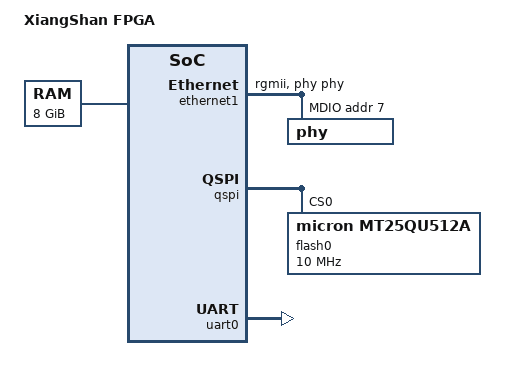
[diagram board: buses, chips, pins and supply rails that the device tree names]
/include/ "xiangshan-base.dtsi"

// TODO: fix at lot of binding errors

/ {
	compatible = "xiangshan,fpga";
	model = "XiangShan FPGA";

	chosen {
		bootargs = "root=/dev/nvme0n1p2 rootfstype=ext4 rw rootwait console=ttyS0,115200n8 earlycon noinitrd";
	};

	memory: memory@80000000 {
		device_type = "memory";
		reg = <0x0 0x80000000 0x2 0x00000000>;
	};
};

&cpus {
	timebase-frequency = <500000>; // CLINT timer at 500 KHz
	// adjust XiangShan/src/main/scala/device/TLTimer.scala:42
};

&cpu0 {
	clock-frequency = <1000000>; // 1 MHz
};

&cpu1 {
	clock-frequency = <1000000>; // 1 MHz
	status = "okay";
};

&soc {
	clkc: misc_clk_0 {
		#clock-cells = <0>;
		clock-frequency = <25000000>;
		compatible = "fixed-clock";
	};

	wdt_clkc: wdt_clock {
		#clock-cells = <0>;
		clock-frequency = <50000000>;
		compatible = "fixed-clock";
	};

	debug-controller@0 {
		compatible = "sifive,debug-013", "riscv,debug-013";
		interrupts-extended = <&cpu0_intc 65535>;
		reg = <0x0 0x0 0x0 0x1000>;
		reg-names = "control";
	};

	ethernet1: ethernet@31010000 {
		compatible = "st,stm32-dwmac", "snps,dwmac-3.50a";
		reg = <0 0x31010000 0 0x10000>;
		reg-names = "stmmaceth";
		interrupts = <3 2 1>;
		interrupt-names = "eth_lpi", "macirq", "eth_wake_irq";
		clock-names = "stmmaceth";
		clocks = <&clkc>;
		//st,syscon = <&syscfg 0x4>;
		snps,pbl = <2>;
		snps,mixed-burst;
		phy-mode = "rgmii";
		// stmmac driver can not find phy if add this node
		//
		phy-handle = <&phy>;
		mdio {
			#address-cells = <0x1>;
			#size-cells = <0x0>;
			phyaddr = <0x7>;
			compatible = "snps,dwmac-mdio";
			phy: phy@7 {
				//phyaddr = <0x7>;
				//compatible = "marvell,88e1116r";
				//device_type = "ethernet-phy";
				reg = <0x7>;
			};
		};
	};

	xdma_pl_0: axi-pcie@40000000 {
		#address-cells = <3>;
		#interrupt-cells = <1>;
		#size-cells = <2>;
		compatible = "xlnx,xdma-host-3.00";
		device_type = "pci";
		interrupt-map =	<0x0 0 0 1 &pcie_intc_0 1>,
				<0x0 0 0 2 &pcie_intc_0 2>,
				<0x0 0 0 3 &pcie_intc_0 3>,
				<0x0 0 0 4 &pcie_intc_0 4>;
		interrupt-map-mask = <0x0 0 0 7>;
		interrupt-names = "misc", "msi0", "msi1";
		interrupts = <53 52 51>;
		ranges = <0x02000000 0x00000000 0x50000000 0x0 0x50000000 0x00000000 0x10000000>;
		reg = <0x00000000 0x40000000 0x0 0x10000000>;
		pcie_intc_0: interrupt-controller {
			#address-cells = <0>;
			#interrupt-cells = <1>;
			interrupt-controller ;
		};
	};

	qspi: spi@31000000 {
		compatible = "cdns,qspi-nor";
		#address-cells = <1>;
		#size-cells = <0>;
		reg = <0x0 0x31000000 0x0 0x1000>,
			<0x0 0x10000000 0x0 0x10000000>;
		interrupts = <44>;
		cdns,fifo-depth = <128>;
		cdns,fifo-width = <4>;
		cdns,trigger-address = <0x10000000>;
		clocks = <&clkc>;
		status = "okay";

		flash0: mt25qu512a@0 {
			#address-cells = <1>;
			#size-cells = <1>;
			compatible = "micron,mt25qu512a", "jedec,spi-nor";
			reg = <0>;	/* chip select */
			spi-max-frequency = <10000000>;

			m25p,fast-read;
			cdns,page-size = <256>;
			cdns,block-size = <16>;
			cdns,read-delay = <0>;
			cdns,tshsl-ns = <0>;
			cdns,tsd2d-ns = <0>;
			cdns,tchsh-ns = <0>;
			cdns,tslch-ns = <0>;
		};
	};

	sdhci2: sdhci@30050000 {
		compatible = "snps,dwcmshc-sdhci";
		reg = <0 0x30050000 0 0x10000>;
		interrupts = <55 56>;
		clocks = <&clkc>;
		clock-names = "core";
		//sd-uhs-sdr12;
		no-1-8-v;
		disable-wp;
		bus-width = <4>;
		max_req_size = <4096>;
		status = "disabled";
	};

	gpio0: gpio@31110000 {
		compatible = "snps,dw-apb-gpio";
		reg = <0 0x31110000 0 0x10000>;

		porta: gpio-controller@0 {
			compatible = "snps,dw-apb-gpio-port";
			reg = <0>;
			gpio-controller;
			#gpio-cells = <2>;
			snps,nr-gpios = <32>;
			interrupt-controller;
			interrupt-parent = <&plic>;
			interrupts = <5  6  7  8  9  10 11 12
				      13 14 15 16 17 18 19 20
				      21 22 23 24 25 26 27 28
				      29 30 31 32 33 34 35 36>;
		};
	};

	watchdog@31130000 {
		compatible = "snps,dw-wdt";
		reg = <0x0 0x31130000 0x0 0x10000>;
		interrupts = <46>;
		clocks = <&wdt_clkc>;
		snps,watchdog-tops = <0x0001000 0x0002000 0x0004000 0x0008000
				      0x0010000 0x0020000 0x0040000 0x0080000
				      0x0100000 0x0200000 0x0400000 0x0800000
				      0x1000000 0x2000000 0x4000000 0x8000000>;
	};

	uart0: serial@310b0000 {
		compatible = "ns16550a";
		reg = <0x0 0x310b0000 0x0 0x10000>;
		reg-shift = <0x02>;
		reg-io-width = <0x04>;
		interrupts = <40>;
		clock-frequency = <50000000>;
	};
};
